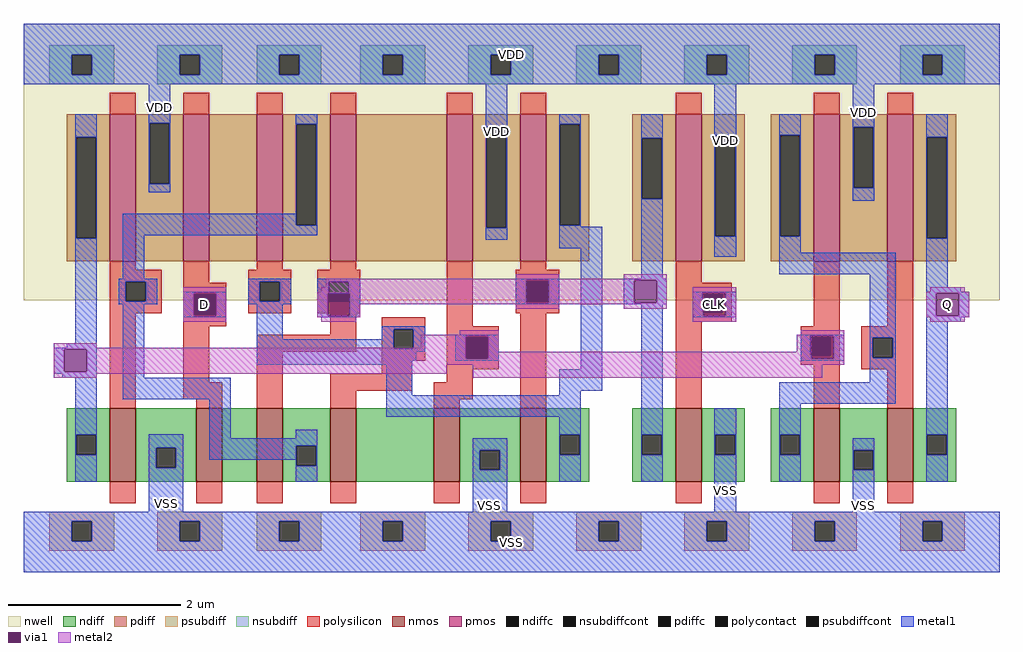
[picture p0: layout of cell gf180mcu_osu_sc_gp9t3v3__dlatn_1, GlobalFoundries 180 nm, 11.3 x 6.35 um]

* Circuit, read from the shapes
.subckt gf180mcu_osu_sc_gp9t3v3__dlatn_1 D Q CLK VDD VSS
XM1 VSS n1 n2 VSS nfet_03v3 w=0.85u l=0.3u
XM2 n3 D VSS VSS nfet_03v3 w=0.85u l=0.3u
XM3 n1 n4 n3 VSS nfet_03v3 w=0.85u l=0.3u
XM4 n5 n6 n1 VSS nfet_03v3 w=0.85u l=0.3u
XM5 VSS n2 n5 VSS nfet_03v3 w=0.85u l=0.3u
XM6 n6 n4 VSS VSS nfet_03v3 w=0.85u l=0.3u
XM7 VSS CLK n4 VSS nfet_03v3 w=0.85u l=0.3u
XM8 VSS n2 n7 VSS nfet_03v3 w=0.85u l=0.3u
XM9 Q n7 VSS VSS nfet_03v3 w=0.85u l=0.3u
XM10 VDD n1 n2 VDD pfet_03v3 w=1.7u l=0.3u
XM11 n8 D VDD VDD pfet_03v3 w=1.7u l=0.3u
XM12 n1 n6 n8 VDD pfet_03v3 w=1.7u l=0.3u
XM13 n9 n4 n1 VDD pfet_03v3 w=1.7u l=0.3u
XM14 VDD n2 n9 VDD pfet_03v3 w=1.7u l=0.3u
XM15 n6 n4 VDD VDD pfet_03v3 w=1.7u l=0.3u
XM16 VDD CLK n4 VDD pfet_03v3 w=1.7u l=0.3u
XM17 VDD n2 n7 VDD pfet_03v3 w=1.7u l=0.3u
XM18 Q n7 VDD VDD pfet_03v3 w=1.7u l=0.3u
.ends

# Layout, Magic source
magic
tech gf180mcuA
magscale 1 10
<< nwell >>
rect 0 630 2260 1270
<< nmos >>
rect 200 210 260 380
rect 400 210 460 380
rect 540 210 600 380
rect 710 210 770 380
rect 950 210 1010 380
rect 1150 210 1210 380
rect 1510 210 1570 380
rect 1830 210 1890 380
rect 2000 210 2060 380
<< pmos >>
rect 200 720 260 1060
rect 370 720 430 1060
rect 540 720 600 1060
rect 710 720 770 1060
rect 980 720 1040 1060
rect 1150 720 1210 1060
rect 1510 720 1570 1060
rect 1830 720 1890 1060
rect 2000 720 2060 1060
<< ndiff >>
rect 100 318 200 380
rect 100 272 122 318
rect 168 272 200 318
rect 100 210 200 272
rect 260 288 400 380
rect 260 242 307 288
rect 353 242 400 288
rect 260 210 400 242
rect 460 210 540 380
rect 600 293 710 380
rect 600 247 632 293
rect 678 247 710 293
rect 600 210 710 247
rect 770 210 950 380
rect 1010 283 1150 380
rect 1010 237 1057 283
rect 1103 237 1150 283
rect 1010 210 1150 237
rect 1210 318 1310 380
rect 1210 272 1242 318
rect 1288 272 1310 318
rect 1210 210 1310 272
rect 1410 318 1510 380
rect 1410 272 1432 318
rect 1478 272 1510 318
rect 1410 210 1510 272
rect 1570 318 1670 380
rect 1570 272 1602 318
rect 1648 272 1670 318
rect 1570 210 1670 272
rect 1730 318 1830 380
rect 1730 272 1752 318
rect 1798 272 1830 318
rect 1730 210 1830 272
rect 1890 283 2000 380
rect 1890 237 1922 283
rect 1968 237 2000 283
rect 1890 210 2000 237
rect 2060 318 2160 380
rect 2060 272 2092 318
rect 2138 272 2160 318
rect 2060 210 2160 272
<< pdiff >>
rect 100 1007 200 1060
rect 100 773 122 1007
rect 168 773 200 1007
rect 100 720 200 773
rect 260 1040 370 1060
rect 260 900 292 1040
rect 338 900 370 1040
rect 260 720 370 900
rect 430 720 540 1060
rect 600 1037 710 1060
rect 600 803 632 1037
rect 678 803 710 1037
rect 600 720 710 803
rect 770 720 980 1060
rect 1040 1032 1150 1060
rect 1040 798 1072 1032
rect 1118 798 1150 1032
rect 1040 720 1150 798
rect 1210 1037 1310 1060
rect 1210 803 1242 1037
rect 1288 803 1310 1037
rect 1210 720 1310 803
rect 1410 1005 1510 1060
rect 1410 865 1432 1005
rect 1478 865 1510 1005
rect 1410 720 1510 865
rect 1570 1012 1670 1060
rect 1570 778 1602 1012
rect 1648 778 1670 1012
rect 1570 720 1670 778
rect 1730 1012 1830 1060
rect 1730 778 1752 1012
rect 1798 778 1830 1012
rect 1730 720 1830 778
rect 1890 1030 2000 1060
rect 1890 890 1922 1030
rect 1968 890 2000 1030
rect 1890 720 2000 890
rect 2060 1007 2160 1060
rect 2060 773 2092 1007
rect 2138 773 2160 1007
rect 2060 720 2160 773
<< ndiffc >>
rect 122 272 168 318
rect 307 242 353 288
rect 632 247 678 293
rect 1057 237 1103 283
rect 1242 272 1288 318
rect 1432 272 1478 318
rect 1602 272 1648 318
rect 1752 272 1798 318
rect 1922 237 1968 283
rect 2092 272 2138 318
<< pdiffc >>
rect 122 773 168 1007
rect 292 900 338 1040
rect 632 803 678 1037
rect 1072 798 1118 1032
rect 1242 803 1288 1037
rect 1432 865 1478 1005
rect 1602 778 1648 1012
rect 1752 778 1798 1012
rect 1922 890 1968 1030
rect 2092 773 2138 1007
<< psubdiff >>
rect 60 118 210 140
rect 60 72 112 118
rect 158 72 210 118
rect 60 50 210 72
rect 310 118 460 140
rect 310 72 362 118
rect 408 72 460 118
rect 310 50 460 72
rect 540 118 690 140
rect 540 72 592 118
rect 638 72 690 118
rect 540 50 690 72
rect 780 118 930 140
rect 780 72 832 118
rect 878 72 930 118
rect 780 50 930 72
rect 1030 118 1180 140
rect 1030 72 1082 118
rect 1128 72 1180 118
rect 1030 50 1180 72
rect 1280 118 1430 140
rect 1280 72 1332 118
rect 1378 72 1430 118
rect 1280 50 1430 72
rect 1530 118 1680 140
rect 1530 72 1582 118
rect 1628 72 1680 118
rect 1530 50 1680 72
rect 1780 118 1930 140
rect 1780 72 1832 118
rect 1878 72 1930 118
rect 1780 50 1930 72
rect 2030 118 2180 140
rect 2030 72 2082 118
rect 2128 72 2180 118
rect 2030 50 2180 72
<< nsubdiff >>
rect 60 1198 210 1220
rect 60 1152 112 1198
rect 158 1152 210 1198
rect 60 1130 210 1152
rect 310 1198 460 1220
rect 310 1152 362 1198
rect 408 1152 460 1198
rect 310 1130 460 1152
rect 540 1198 690 1220
rect 540 1152 592 1198
rect 638 1152 690 1198
rect 540 1130 690 1152
rect 780 1198 930 1220
rect 780 1152 832 1198
rect 878 1152 930 1198
rect 780 1130 930 1152
rect 1030 1198 1180 1220
rect 1030 1152 1082 1198
rect 1128 1152 1180 1198
rect 1030 1130 1180 1152
rect 1280 1198 1430 1220
rect 1280 1152 1332 1198
rect 1378 1152 1430 1198
rect 1280 1130 1430 1152
rect 1530 1198 1680 1220
rect 1530 1152 1582 1198
rect 1628 1152 1680 1198
rect 1530 1130 1680 1152
rect 1780 1198 1930 1220
rect 1780 1152 1832 1198
rect 1878 1152 1930 1198
rect 1780 1130 1930 1152
rect 2030 1198 2180 1220
rect 2030 1152 2082 1198
rect 2128 1152 2180 1198
rect 2030 1130 2180 1152
<< psubdiffcont >>
rect 112 72 158 118
rect 362 72 408 118
rect 592 72 638 118
rect 832 72 878 118
rect 1082 72 1128 118
rect 1332 72 1378 118
rect 1582 72 1628 118
rect 1832 72 1878 118
rect 2082 72 2128 118
<< nsubdiffcont >>
rect 112 1152 158 1198
rect 362 1152 408 1198
rect 592 1152 638 1198
rect 832 1152 878 1198
rect 1082 1152 1128 1198
rect 1332 1152 1378 1198
rect 1582 1152 1628 1198
rect 1832 1152 1878 1198
rect 2082 1152 2128 1198
<< polysilicon >>
rect 200 1060 260 1110
rect 370 1060 430 1110
rect 540 1060 600 1110
rect 710 1060 770 1110
rect 980 1060 1040 1110
rect 1150 1060 1210 1110
rect 1510 1060 1570 1110
rect 1830 1060 1890 1110
rect 2000 1060 2060 1110
rect 200 700 260 720
rect 200 673 320 700
rect 200 627 237 673
rect 283 627 320 673
rect 200 600 320 627
rect 370 670 430 720
rect 540 700 600 720
rect 710 700 770 720
rect 520 673 620 700
rect 370 643 470 670
rect 200 380 260 600
rect 370 597 397 643
rect 443 597 470 643
rect 520 627 547 673
rect 593 627 620 673
rect 520 600 620 627
rect 680 673 780 700
rect 680 627 707 673
rect 753 627 780 673
rect 680 600 780 627
rect 370 570 470 597
rect 370 440 430 570
rect 710 550 770 600
rect 540 510 770 550
rect 830 563 930 590
rect 830 517 857 563
rect 903 517 930 563
rect 370 400 460 440
rect 400 380 460 400
rect 540 380 600 510
rect 830 490 930 517
rect 980 570 1040 720
rect 1150 700 1210 720
rect 1140 673 1240 700
rect 1140 627 1167 673
rect 1213 627 1240 673
rect 1140 600 1240 627
rect 1510 670 1570 720
rect 1510 648 1640 670
rect 1510 602 1572 648
rect 1618 602 1640 648
rect 980 543 1100 570
rect 980 497 1027 543
rect 1073 497 1100 543
rect 830 460 900 490
rect 710 420 900 460
rect 980 470 1100 497
rect 980 440 1040 470
rect 710 380 770 420
rect 950 400 1040 440
rect 950 380 1010 400
rect 1150 380 1210 600
rect 1510 580 1640 602
rect 1510 380 1570 580
rect 1830 570 1890 720
rect 2000 570 2060 720
rect 1800 548 1890 570
rect 1800 502 1822 548
rect 1868 502 1890 548
rect 1800 480 1890 502
rect 1830 380 1890 480
rect 1940 543 2060 570
rect 1940 497 1967 543
rect 2013 497 2060 543
rect 1940 470 2060 497
rect 2000 380 2060 470
rect 200 160 260 210
rect 400 160 460 210
rect 540 160 600 210
rect 710 160 770 210
rect 950 160 1010 210
rect 1150 160 1210 210
rect 1510 160 1570 210
rect 1830 160 1890 210
rect 2000 160 2060 210
<< polycontact >>
rect 237 627 283 673
rect 397 597 443 643
rect 547 627 593 673
rect 707 627 753 673
rect 857 517 903 563
rect 1167 627 1213 673
rect 1572 602 1618 648
rect 1027 497 1073 543
rect 1822 502 1868 548
rect 1967 497 2013 543
<< metal1 >>
rect 0 1198 2260 1270
rect 0 1152 112 1198
rect 158 1152 362 1198
rect 408 1152 592 1198
rect 638 1152 832 1198
rect 878 1152 1082 1198
rect 1128 1152 1332 1198
rect 1378 1152 1582 1198
rect 1628 1152 1832 1198
rect 1878 1152 2082 1198
rect 2128 1152 2260 1198
rect 0 1130 2260 1152
rect 120 1007 170 1060
rect 120 773 122 1007
rect 168 773 170 1007
rect 290 1040 340 1130
rect 290 900 292 1040
rect 338 900 340 1040
rect 290 880 340 900
rect 630 1037 680 1060
rect 630 830 632 1037
rect 120 530 170 773
rect 230 803 632 830
rect 678 803 680 1037
rect 230 780 680 803
rect 1070 1032 1120 1130
rect 1070 798 1072 1032
rect 1118 798 1120 1032
rect 230 680 280 780
rect 1070 770 1120 798
rect 1240 1037 1290 1060
rect 1240 803 1242 1037
rect 1288 803 1290 1037
rect 1240 800 1290 803
rect 1430 1005 1480 1060
rect 1430 865 1432 1005
rect 1478 865 1480 1005
rect 1240 750 1340 800
rect 220 673 310 680
rect 220 627 237 673
rect 283 627 310 673
rect 520 673 620 680
rect 220 620 310 627
rect 370 646 470 650
rect 100 520 170 530
rect 70 516 170 520
rect 70 464 94 516
rect 146 464 170 516
rect 70 460 170 464
rect 90 450 170 460
rect 120 318 170 450
rect 230 450 280 620
rect 370 594 394 646
rect 446 594 470 646
rect 520 627 547 673
rect 593 627 620 673
rect 520 620 620 627
rect 680 673 780 680
rect 680 646 707 673
rect 753 646 780 673
rect 370 590 470 594
rect 540 540 600 620
rect 680 594 704 646
rect 756 594 780 646
rect 1140 676 1240 680
rect 1140 624 1164 676
rect 1216 624 1240 676
rect 1140 620 1240 624
rect 680 590 780 594
rect 830 563 930 570
rect 830 540 857 563
rect 540 517 857 540
rect 903 517 930 563
rect 540 510 930 517
rect 1000 546 1100 550
rect 540 490 910 510
rect 1000 494 1024 546
rect 1076 494 1100 546
rect 1000 490 1100 494
rect 540 480 900 490
rect 230 400 480 450
rect 120 272 122 318
rect 168 272 170 318
rect 120 210 170 272
rect 290 288 370 320
rect 290 242 307 288
rect 353 242 370 288
rect 430 310 480 400
rect 840 410 900 480
rect 1290 470 1340 750
rect 1430 680 1480 865
rect 1600 1012 1650 1130
rect 1600 778 1602 1012
rect 1648 778 1650 1012
rect 1600 730 1650 778
rect 1750 1012 1800 1060
rect 1750 778 1752 1012
rect 1798 778 1800 1012
rect 1920 1030 1970 1130
rect 1920 890 1922 1030
rect 1968 890 1970 1030
rect 1920 860 1970 890
rect 2090 1007 2140 1060
rect 1750 740 1800 778
rect 2090 773 2092 1007
rect 2138 773 2140 1007
rect 1750 690 2020 740
rect 1390 676 1490 680
rect 1390 624 1414 676
rect 1466 624 1490 676
rect 1390 620 1490 624
rect 1550 648 1650 650
rect 1240 420 1340 470
rect 1240 410 1290 420
rect 840 360 1290 410
rect 630 310 680 330
rect 1240 318 1290 360
rect 430 293 680 310
rect 430 260 632 293
rect 290 140 370 242
rect 630 247 632 260
rect 678 247 680 293
rect 630 210 680 247
rect 1040 283 1120 310
rect 1040 237 1057 283
rect 1103 237 1120 283
rect 1040 140 1120 237
rect 1240 272 1242 318
rect 1288 272 1290 318
rect 1240 210 1290 272
rect 1430 318 1480 620
rect 1550 602 1572 648
rect 1618 646 1650 648
rect 1550 594 1574 602
rect 1626 594 1650 646
rect 1550 590 1650 594
rect 1800 548 1900 550
rect 1800 502 1822 548
rect 1868 546 1900 548
rect 1800 494 1824 502
rect 1876 494 1900 546
rect 1800 490 1900 494
rect 1960 543 2020 690
rect 1960 497 1967 543
rect 2013 497 2020 543
rect 1960 440 2020 497
rect 1750 390 2020 440
rect 2090 660 2140 773
rect 2090 650 2170 660
rect 2090 646 2190 650
rect 2090 594 2114 646
rect 2166 594 2190 646
rect 2090 590 2190 594
rect 2090 580 2170 590
rect 1430 272 1432 318
rect 1478 272 1480 318
rect 1430 210 1480 272
rect 1600 318 1650 380
rect 1600 272 1602 318
rect 1648 272 1650 318
rect 1600 140 1650 272
rect 1750 318 1800 390
rect 1750 272 1752 318
rect 1798 272 1800 318
rect 2090 318 2140 580
rect 1750 210 1800 272
rect 1920 283 1970 310
rect 1920 237 1922 283
rect 1968 237 1970 283
rect 1920 140 1970 237
rect 2090 272 2092 318
rect 2138 272 2140 318
rect 2090 210 2140 272
rect 0 118 2260 140
rect 0 72 112 118
rect 158 72 362 118
rect 408 72 592 118
rect 638 72 832 118
rect 878 72 1082 118
rect 1128 72 1332 118
rect 1378 72 1582 118
rect 1628 72 1832 118
rect 1878 72 2082 118
rect 2128 72 2260 118
rect 0 0 2260 72
<< via1 >>
rect 94 464 146 516
rect 394 643 446 646
rect 394 597 397 643
rect 397 597 443 643
rect 443 597 446 643
rect 394 594 446 597
rect 704 627 707 646
rect 707 627 753 646
rect 753 627 756 646
rect 704 594 756 627
rect 1164 673 1216 676
rect 1164 627 1167 673
rect 1167 627 1213 673
rect 1213 627 1216 673
rect 1164 624 1216 627
rect 1024 543 1076 546
rect 1024 497 1027 543
rect 1027 497 1073 543
rect 1073 497 1076 543
rect 1024 494 1076 497
rect 1414 624 1466 676
rect 1574 602 1618 646
rect 1618 602 1626 646
rect 1574 594 1626 602
rect 1824 502 1868 546
rect 1868 502 1876 546
rect 1824 494 1876 502
rect 2114 594 2166 646
<< metal2 >>
rect 1140 680 1240 690
rect 1390 680 1490 690
rect 700 676 1490 680
rect 700 660 1164 676
rect 370 646 470 660
rect 690 650 1164 660
rect 370 594 394 646
rect 446 594 470 646
rect 370 580 470 594
rect 680 646 1164 650
rect 680 594 704 646
rect 756 624 1164 646
rect 1216 624 1414 676
rect 1466 624 1490 676
rect 756 620 1490 624
rect 756 594 780 620
rect 1140 610 1240 620
rect 1390 610 1490 620
rect 1550 646 1650 660
rect 2100 650 2180 660
rect 680 590 780 594
rect 1550 594 1574 646
rect 1626 594 1650 646
rect 690 580 770 590
rect 1550 580 1650 594
rect 2090 646 2190 650
rect 2090 594 2114 646
rect 2166 594 2190 646
rect 2090 590 2190 594
rect 2100 580 2180 590
rect 1010 550 1100 560
rect 1800 550 1900 560
rect 920 546 1100 550
rect 70 520 170 530
rect 920 520 1024 546
rect 70 516 1024 520
rect 70 464 94 516
rect 146 494 1024 516
rect 1076 510 1100 546
rect 1790 546 1900 550
rect 1790 510 1824 546
rect 1076 494 1824 510
rect 1876 494 1900 546
rect 146 480 1900 494
rect 146 464 980 480
rect 70 460 980 464
rect 70 450 170 460
rect 1040 450 1850 480
<< labels >>
rlabel via1 s 394 594 446 646 4 D
port 1 nsew signal input
rlabel via1 s 2114 594 2166 646 4 Q
port 2 nsew signal output
rlabel via1 s 1574 594 1626 646 4 CLK
port 3 nsew clock input
rlabel metal1 s 290 880 340 1270 4 VDD
port 4 nsew power bidirectional abutment
rlabel metal1 s 290 0 370 320 4 VSS
port 5 nsew ground bidirectional abutment
rlabel metal1 s 1070 770 1120 1270 1 VDD
port 4 nsew power bidirectional abutment
rlabel metal1 s 1600 730 1650 1270 1 VDD
port 4 nsew power bidirectional abutment
rlabel metal1 s 1920 860 1970 1270 1 VDD
port 4 nsew power bidirectional abutment
rlabel metal1 s 0 1130 2260 1270 1 VDD
port 4 nsew power bidirectional abutment
rlabel metal1 s 1040 0 1120 310 1 VSS
port 5 nsew ground bidirectional abutment
rlabel metal1 s 1600 0 1650 380 1 VSS
port 5 nsew ground bidirectional abutment
rlabel metal1 s 1920 0 1970 310 1 VSS
port 5 nsew ground bidirectional abutment
rlabel metal1 s 0 0 2260 140 1 VSS
port 5 nsew ground bidirectional abutment
rlabel metal2 s 1550 580 1650 660 1 CLK
port 3 nsew clock input
rlabel metal1 s 1550 590 1650 650 1 CLK
port 3 nsew clock input
rlabel metal2 s 370 580 470 660 1 D
port 1 nsew signal input
rlabel metal1 s 370 590 470 650 1 D
port 1 nsew signal input
rlabel metal2 s 2100 580 2180 660 1 Q
port 2 nsew signal output
rlabel metal2 s 2090 590 2190 650 1 Q
port 2 nsew signal output
rlabel metal1 s 2090 210 2140 1060 1 Q
port 2 nsew signal output
rlabel metal1 s 2090 580 2170 660 1 Q
port 2 nsew signal output
rlabel metal1 s 2090 590 2190 650 1 Q
port 2 nsew signal output
<< properties >>
string FIXED_BBOX 0 0 2260 1270
string GDS_END 282408
string GDS_FILE $PDKPATH/libs.ref/gf180mcu_osu_sc_gp9t3v3/gds/gf180mcu_osu_sc_gp9t3v3.gds
string GDS_START 266080
string LEFclass CORE
string LEFsite gf180mcu_osu_sc_gp9t3v3
string LEFsymmetry X Y
<< end >>
